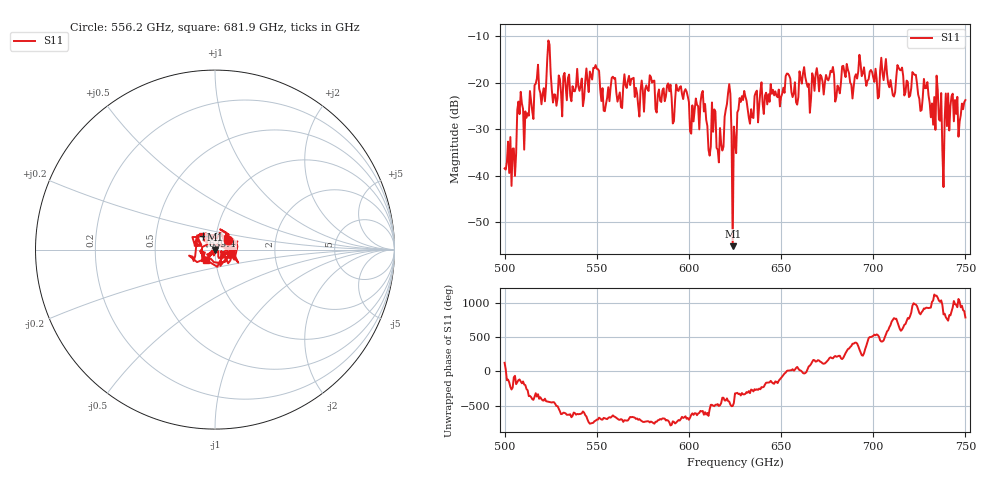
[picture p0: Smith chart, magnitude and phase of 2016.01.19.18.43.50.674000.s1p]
!Created with skrf (http://scikit-rf.org).
# GHz S RI R 50.0
!freq ReS11 ImS11
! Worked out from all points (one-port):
!   401 points, 500 GHz to 750 GHz, reference 50 ohm
!   lowest |S11| = -55.2 dB at 623.8 GHz (marker M1), VSWR 1.00, Z = 49.9 - j0.0944 ohm
!   |S11| at or under -10 dB: start of sweep to end of sweep
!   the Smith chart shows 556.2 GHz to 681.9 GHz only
!   S11 on the Smith chart (normalised r, x): 556.2 GHz: 1.14, +0.13; 639.4 GHz: 0.87, +0.13; 681.9 GHz: 0.90, -0.11
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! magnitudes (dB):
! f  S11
! 500 GHz  -38.4
! 505 GHz  -34.1
! 508.1 GHz  -26.7
! 511.9 GHz  -27.5
! 523.8 GHz  -10.9
! 526.9 GHz  -22.5
! 531.2 GHz  -27.2
! 549.4 GHz  -16.2
! 556.2 GHz  -20.9
! 562.5 GHz  -22.1
! 593.8 GHz  -21.6
! 601.9 GHz  -24.9
! 607.5 GHz  -21.7
! 610.6 GHz  -34.4
! 613.8 GHz  -25.7
! 616.9 GHz  -29.7
! 621.2 GHz  -22.2
! 623.8 GHz  -55.2
! 625 GHz  -32.6
! 628.8 GHz  -22.9
! 639.4 GHz  -19.9
! 656.2 GHz  -23.1
! 681.9 GHz  -22.3
! 687.5 GHz  -20.0
! 718.8 GHz  -19.8
! 735.6 GHz  -27.9
! 738.8 GHz  -27.9
! 750 GHz  -23.7
